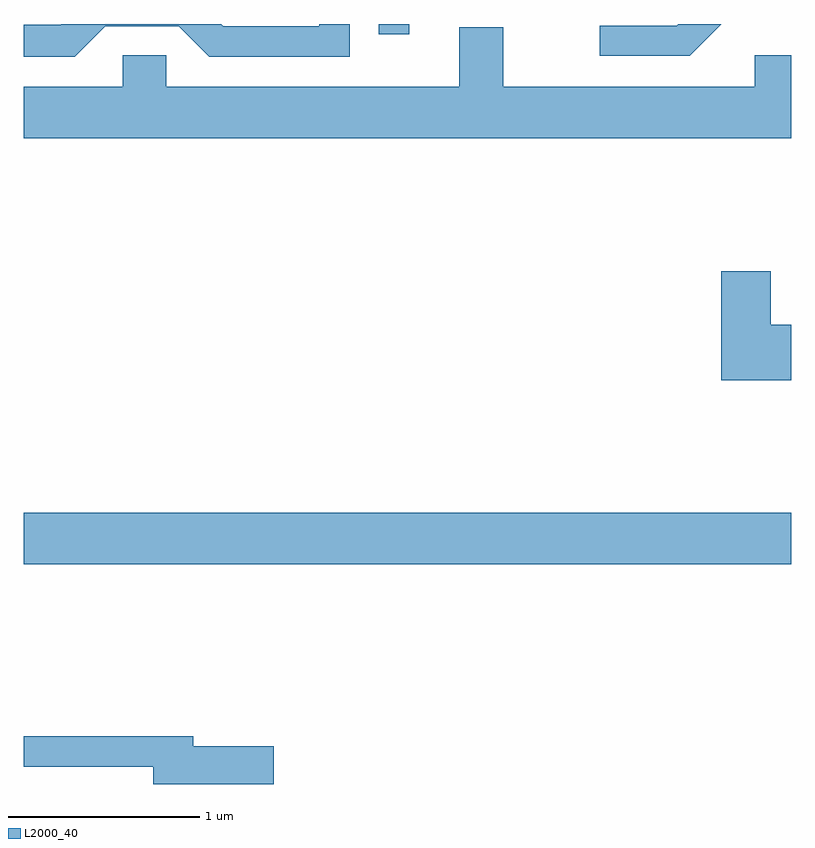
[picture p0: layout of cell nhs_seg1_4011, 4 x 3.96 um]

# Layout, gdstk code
import gdstk
lib = gdstk.Library(unit=1e-6, precision=1e-09)
def R(c, l, rs):  # rectangles x0, y0, x1, y1
    for r in rs: c.add(gdstk.rectangle(r[:2], r[2:], *l))
def P(c, l, *ps):  # polygons
    for p in ps: c.add(gdstk.Polygon(p, *l))
L2000_40 = (2000, 40)

nhs_seg1_4011 = lib.new_cell('nhs_seg1_4011')
R(nhs_seg1_4011, L2000_40, [(305.611,912.896,309.611,913.164), (307.461,915.658,307.619,915.712)])
P(nhs_seg1_4011, L2000_40, [(306.037,915.701),(306.419,915.701),(306.579,915.541),(307.309,915.541),(307.309,915.712),(307.151,915.712),(307.151,915.699),(306.652,915.699),(306.639,915.712),(305.807,915.712),(305.804,915.709),(305.611,915.709),(305.611,915.541),(305.877,915.541)],
  [(309.247,915.712),(309.022,915.712),(309.014,915.704),(308.613,915.704),(308.613,915.546),(309.082,915.546)],
  [(309.611,915.549),(309.421,915.549),(309.421,915.384),(308.109,915.384),(308.109,915.694),(307.881,915.694),(307.881,915.384),(306.354,915.384),(306.354,915.549),(306.126,915.549),(306.126,915.384),(305.611,915.384),(305.611,915.116),(309.611,915.116)],
  [(309.611,914.144),(309.504,914.144),(309.504,914.424),(309.246,914.424),(309.246,913.856),(309.611,913.856)],
  [(306.914,911.949),(306.494,911.949),(306.494,911.999),(305.611,911.999),(305.611,911.841),(306.286,911.841),(306.286,911.751),(306.914,911.751)])

lib.write_gds('nhs_seg1_4011.gds')
